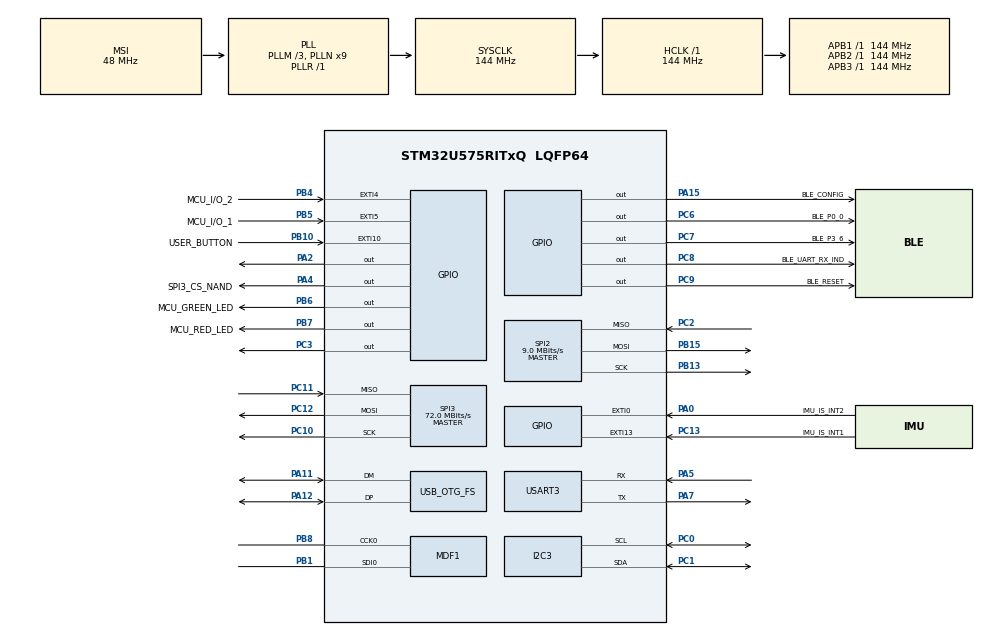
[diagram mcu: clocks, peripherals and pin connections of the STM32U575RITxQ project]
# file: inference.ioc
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CORTEX_M33_NS.userName=CORTEX_M33
GPDMA1.CIRCULARMODE_GPDMACH0=ENABLE
GPDMA1.DESTDATAWIDTH_GPDMACH0=DMA_DEST_DATAWIDTH_HALFWORD
GPDMA1.DESTINC_GPDMACH0=DMA_DINC_INCREMENTED
GPDMA1.IPHANDLE_GPDMACH0-SIMPLEREQUEST_GPDMACH0=__NULL
GPDMA1.REQUEST_GPDMACH0=GPDMA1_REQUEST_MDF1_FLT0
GPDMA1.SRCDATAWIDTH_GPDMACH0=DMA_SRC_DATAWIDTH_HALFWORD
I2C3.Timing=0x20B0D9FF
MDF1.MDF_COMPARAM_ActivationClockTrigger=DISABLE
MDF1.MDF_COMPARAM_ActivationOutputClock=ENABLE
MDF1.MDF_COMPARAM_Divider=10
MDF1.MDF_COMPARAM_Pins=MDF_OUTPUT_CLOCK_0
MDF1.MDF_DFLT0_AcquisitionMode=MDF_MODE_ASYNC_CONT
MDF1.MDF_DFLT0_CIC_Mode=MDF_ONE_FILTER_SINC5
MDF1.MDF_DFLT0_Decimation=24
MDF1.MDF_DFLT0_DiscardSamples=255
MDF1.MDF_DFLT0_FifoThreshold=MDF_FIFO_THRESHOLD_HALF_FULL
MDF1.MDF_DFLT0_Gain=1
MDF1.MDF_DFLT0_HighPassFilterActivation=ENABLE
MDF1.MDF_DFLT0_ReshapeFilterActivation=ENABLE
MDF1.MDF_SITF0_Mode_Display=MDF_SITF_NORMAL_SPI_MODE
MDF1.MDF_SITF0_Threshold=31
Mcu.Family=STM32U5
Mcu.Name=STM32U575RITxQ
Mcu.Package=LQFP64
NVIC.EXTI0_IRQn=true\:0\:0\:false\:false\:true\:true\:true\:true
NVIC.EXTI10_IRQn=true\:0\:0\:false\:false\:true\:true\:true\:true
NVIC.EXTI13_IRQn=true\:0\:0\:false\:false\:true\:true\:true\:true
NVIC.EXTI4_IRQn=true\:0\:0\:false\:false\:true\:true\:true\:true
NVIC.EXTI5_IRQn=true\:0\:0\:false\:false\:true\:true\:true\:true
NVIC.GPDMA1_Channel0_IRQn=true\:0\:0\:false\:false\:true\:false\:true\:true
NVIC.MDF1_FLT0_IRQn=true\:0\:0\:false\:false\:true\:true\:true\:true
NVIC.OTG_FS_IRQn=true\:0\:0\:false\:false\:true\:true\:true\:true
NVIC.PriorityGroup=NVIC_PRIORITYGROUP_4
NVIC.SPI2_IRQn=true\:0\:0\:false\:false\:true\:true\:true\:true
NVIC.SPI3_IRQn=true\:0\:0\:false\:false\:true\:true\:true\:true
NVIC.USART3_IRQn=true\:0\:0\:false\:false\:true\:true\:true\:true
PA0.GPIO_Label=IMU_IS_INT2
PA0.Signal=GPXTI0
PA11.GPIO_Speed=GPIO_SPEED_FREQ_VERY_HIGH
PA11.Mode=Device_Only
PA11.Signal=USB_OTG_FS_DM
PA12.GPIO_Speed=GPIO_SPEED_FREQ_VERY_HIGH
PA12.Mode=Device_Only
PA12.Signal=USB_OTG_FS_DP
PA13\ (JTMS/SWDIO).Mode=Trace_Asynchronous_SW
PA13\ (JTMS/SWDIO).Signal=DEBUG_JTMS-SWDIO
PA14\ (JTCK/SWCLK).Mode=Trace_Asynchronous_SW
PA14\ (JTCK/SWCLK).Signal=DEBUG_JTCK-SWCLK
PA15\ (JTDI).GPIO_Label=BLE_CONFIG
PA15\ (JTDI).PinState=GPIO_PIN_SET
PA15\ (JTDI).Signal=GPIO_Output
PA2.Signal=GPIO_Output
PA4.GPIO_Label=SPI3_CS_NAND
PA4.Signal=GPIO_Output
PA5.Mode=Asynchronous
PA5.Signal=USART3_RX
PA7.Mode=Asynchronous
PA7.Signal=USART3_TX
PA9.Signal=USB_OTG_FS_VBUS
PB1.GPIO_Speed=GPIO_SPEED_FREQ_VERY_HIGH
PB1.Mode=MOD_MDF_SITF0_CCK0
PB1.Signal=MDF1_SDI0
PB10.GPIO_Label=USER_BUTTON
PB10.GPIO_ModeDefaultEXTI=GPIO_MODE_IT_RISING_FALLING
PB10.GPIO_PuPd=GPIO_PULLDOWN
PB10.Signal=GPXTI10
PB13.Mode=Full_Duplex_Master
PB13.Signal=SPI2_SCK
PB15.Mode=Full_Duplex_Master
PB15.Signal=SPI2_MOSI
PB3\ (JTDO/TRACESWO).Mode=Trace_Asynchronous_SW
PB3\ (JTDO/TRACESWO).Signal=DEBUG_JTDO-SWO
PB4\ (NJTRST).GPIO_Label=MCU_I/O_2
PB4\ (NJTRST).Signal=GPXTI4
PB5.GPIO_Label=MCU_I/O_1
PB5.GPIO_ModeDefaultEXTI=GPIO_MODE_IT_FALLING
PB5.Signal=GPXTI5
PB6.GPIO_Label=MCU_GREEN_LED
PB6.Signal=GPIO_Output
PB7.GPIO_Label=MCU_RED_LED
PB7.Signal=GPIO_Output
PB8.GPIO_FM8=SYSCFG_FASTMODEPLUS_PB8
PB8.GPIO_Speed=GPIO_SPEED_FREQ_VERY_HIGH
PB8.Mode=MOD_MDF_CCK0
PB8.Signal=MDF1_CCK0
PC0.Mode=I2C
PC0.Signal=I2C3_SCL
PC1.Mode=I2C
PC1.Signal=I2C3_SDA
PC10.Mode=Full_Duplex_Master
PC10.Signal=SPI3_SCK
PC11.Mode=Full_Duplex_Master
PC11.Signal=SPI3_MISO
PC12.Mode=Full_Duplex_Master
PC12.Signal=SPI3_MOSI
PC13.GPIO_Label=IMU_IS_INT1
PC13.Signal=GPXTI13
PC14-OSC32_IN\ (PC14).Mode=LSE-External-Oscillator
PC14-OSC32_IN\ (PC14).Signal=RCC_OSC32_IN
PC15-OSC32_OUT\ (PC15).Mode=LSE-External-Oscillator
PC15-OSC32_OUT\ (PC15).Signal=RCC_OSC32_OUT
PC2.Mode=Full_Duplex_Master
PC2.Signal=SPI2_MISO
PC3.Signal=GPIO_Output
PC6.GPIO_Label=BLE_P0_0
PC6.Signal=GPIO_Output
PC7.GPIO_Label=BLE_P3_6
PC7.Signal=GPIO_Output
PC8.GPIO_Label=BLE_UART_RX_IND
PC8.Signal=GPIO_Output
PC9.GPIO_Label=BLE_RESET
PC9.Signal=GPIO_Output
PH0-OSC_IN\ (PH0).Mode=HSE-External-Oscillator
PH0-OSC_IN\ (PH0).Signal=RCC_OSC_IN
PH1-OSC_OUT\ (PH1).Mode=HSE-External-Oscillator
PH1-OSC_OUT\ (PH1).Signal=RCC_OSC_OUT
ProjectManager.HeapSize=0x800
ProjectManager.StackSize=0x800
ProjectManager.TargetToolchain=CMake
RCC.ADCCLockSelection=RCC_ADCDACCLKSOURCE_PLL2
RCC.ADCFreq_Value=160000000
RCC.AHBFreq_Value=144000000
RCC.APB1Freq_Value=144000000
RCC.APB1TimFreq_Value=144000000
RCC.APB2Freq_Value=144000000
RCC.APB2TimFreq_Value=144000000
RCC.APB3Freq_Value=144000000
RCC.CK48CLockSelection=RCC_CLK48CLKSOURCE_PLL1
RCC.CortexFreq_Value=144000000
RCC.EPOD_VALUE=48000000
RCC.HCLKFreq_Value=144000000
RCC.HSE_VALUE=24000000
RCC.HSI48_VALUE=48000000
RCC.HSI_VALUE=16000000
RCC.LSIDIV_VALUE=32000
RCC.MSIClockRange=RCC_MSIRANGE_0
RCC.MSI_VALUE=48000000
RCC.MdfClockSelection=RCC_MDF1CLKSOURCE_PLL3
RCC.PLL1Q=3
RCC.PLL1R=1
RCC.PLL2FRACN=0
RCC.PLL2M=3
RCC.PLL2N=20
RCC.PLL3FRACN=0
RCC.PLL3M=3
RCC.PLL3N=48
RCC.PLL3Q=25
RCC.PLL3Source=RCC_PLLSOURCE_HSE
RCC.PLLFRACN=0
RCC.PLLM=3
RCC.PLLN=9
RCC.PWR_Regulator_Voltage_Scale=PWR_REGULATOR_VOLTAGE_SCALE1
RCC.SYSCLKFreq_VALUE=144000000
RCC.SYSCLKSource=RCC_SYSCLKSOURCE_PLLCLK
RCC.USBFreq_Value=48000000
RCC.VCOOutputFreq_Value=144000000
SPI2.BaudRatePrescaler=SPI_BAUDRATEPRESCALER_16
SPI2.CalculateBaudRate=9.0 MBits/s
SPI2.DataSize=SPI_DATASIZE_8BIT
SPI2.Direction=SPI_DIRECTION_2LINES
SPI2.Mode=SPI_MODE_MASTER
SPI2.VirtualType=VM_MASTER
SPI3.CalculateBaudRate=72.0 MBits/s
SPI3.Direction=SPI_DIRECTION_2LINES
SPI3.Mode=SPI_MODE_MASTER
SPI3.VirtualType=VM_MASTER
STMicroelectronics.FP-SNS-STAIOTCFT.1.0.0.MathOoLibCcCMSISJjDSPJjInclude=true
STMicroelectronics.FP-SNS-STAIOTCFT.1.0.0.MathOoLibCcCMSISJjDSPJjLib=true
STMicroelectronics.X-CUBE-AI.10.2.0.ActivationBufferSizeList=1000
STMicroelectronics.X-CUBE-AI.10.2.0.ActivationBuffers=pool0
STMicroelectronics.X-CUBE-AI.10.2.0.ActivationNames=pool0
STMicroelectronics.X-CUBE-AI.10.2.0.ActivationSizes=AI_NETWORK_DATA_ACTIVATION_1_SIZE
STMicroelectronics.X-CUBE-AI.10.2.0.HeapSize=0x800
STMicroelectronics.X-CUBE-AI.10.2.0.InternalRamActivationBufferMaxSize=AI_NETWORK_DATA_ACTIVATIONS_SIZE
STMicroelectronics.X-CUBE-AI.10.2.0.LatestDirectoryUsed-ff7e8d64f771db57aa293f2febb8b5f635e844d5ac6076b4101a7b0ddd6fcaff=/Users/mirko/Developer/SWDPProject/pipeline/output/tinyml_context_model
STMicroelectronics.X-CUBE-AI.10.2.0.MaximumNumberOfInputLayer=1
STMicroelectronics.X-CUBE-AI.10.2.0.MaximumNumberOfOutputLayer=1
STMicroelectronics.X-CUBE-AI.10.2.0.MaximumSizeOfInputLayer=1
STMicroelectronics.X-CUBE-AI.10.2.0.MaximumSizeOfOutputLayer=1
STMicroelectronics.X-CUBE-AI.10.2.0.ModelActualCompression-ff7e8d64f771db57aa293f2febb8b5f635e844d5ac6076b4101a7b0ddd6fcaff=0.0
STMicroelectronics.X-CUBE-AI.10.2.0.ModelCompression-ff7e8d64f771db57aa293f2febb8b5f635e844d5ac6076b4101a7b0ddd6fcaff=None
STMicroelectronics.X-CUBE-AI.10.2.0.ModelFlashOccupation-ff7e8d64f771db57aa293f2febb8b5f635e844d5ac6076b4101a7b0ddd6fcaff=2052
STMicroelectronics.X-CUBE-AI.10.2.0.ModelHashList=ff7e8d64f771db57aa293f2febb8b5f635e844d5ac6076b4101a7b0ddd6fcaff
STMicroelectronics.X-CUBE-AI.10.2.0.ModelKind-ff7e8d64f771db57aa293f2febb8b5f635e844d5ac6076b4101a7b0ddd6fcaff=TFLITE
STMicroelectronics.X-CUBE-AI.10.2.0.ModelMacc-ff7e8d64f771db57aa293f2febb8b5f635e844d5ac6076b4101a7b0ddd6fcaff=1968
STMicroelectronics.X-CUBE-AI.10.2.0.ModelName-ff7e8d64f771db57aa293f2febb8b5f635e844d5ac6076b4101a7b0ddd6fcaff=network
STMicroelectronics.X-CUBE-AI.10.2.0.ModelNameList=network
STMicroelectronics.X-CUBE-AI.10.2.0.ModelRamOccupation-ff7e8d64f771db57aa293f2febb8b5f635e844d5ac6076b4101a7b0ddd6fcaff=1000
STMicroelectronics.X-CUBE-AI.10.2.0.ModelStructureFile-ff7e8d64f771db57aa293f2febb8b5f635e844d5ac6076b4101a7b0ddd6fcaff=/Users/mirko/Developer/SWDPProject/pipeline/output/tinyml_context_model/tinyml_context_model_int8.tflite
STMicroelectronics.X-CUBE-AI.10.2.0.ModelType-ff7e8d64f771db57aa293f2febb8b5f635e844d5ac6076b4101a7b0ddd6fcaff=STM32Cube.AI MCU runtime
STMicroelectronics.X-CUBE-AI.10.2.0.ReadyForCodeGeneration=true
STMicroelectronics.X-CUBE-AI.10.2.0.StackSize=0x800
STMicroelectronics.X-CUBE-AI.10.2.0.WorkingBufferStartAddrList=0xFFFFFFFF
STMicroelectronics.X-CUBE-AI.10.2.0.XAaCUBEAaAICcArtificialOoIntelligenceJjCore=true
STMicroelectronics.X-CUBE-AI.10.2.0.copyWeightToRam=false
STMicroelectronics.X-CUBE-AI.10.2.0.copyWeightToRam-ff7e8d64f771db57aa293f2febb8b5f635e844d5ac6076b4101a7b0ddd6fcaff=false
STMicroelectronics.X-CUBE-AI.10.2.0.customLayerConfigEnabled=false
STMicroelectronics.X-CUBE-AI.10.2.0.customLayerConfigEnabled-ff7e8d64f771db57aa293f2febb8b5f635e844d5ac6076b4101a7b0ddd6fcaff=false
STMicroelectronics.X-CUBE-AI.10.2.0.noOnnxIoTranspose=false
STMicroelectronics.X-CUBE-AI.10.2.0.noOnnxIoTranspose-ff7e8d64f771db57aa293f2febb8b5f635e844d5ac6076b4101a7b0ddd6fcaff=false
STMicroelectronics.X-CUBE-AI.10.2.0.useInputAllocation=true
STMicroelectronics.X-CUBE-AI.10.2.0.useInputAllocation-ff7e8d64f771db57aa293f2febb8b5f635e844d5ac6076b4101a7b0ddd6fcaff=true
STMicroelectronics.X-CUBE-AI.10.2.0.useOutputAllocation=true
STMicroelectronics.X-CUBE-AI.10.2.0.useOutputAllocation-ff7e8d64f771db57aa293f2febb8b5f635e844d5ac6076b4101a7b0ddd6fcaff=true
USART3.VirtualMode-Asynchronous=VM_ASYNC
USB_OTG_FS.VirtualMode=Device_Only
VP_GPDMA1_VS_GPDMACH0.Mode=SIMPLEREQUEST_GPDMACH0
VP_ICACHE_VS_ENABLE_ICACHE_MEMORY.Mode=Memoryregions
VP_ICACHE_VS_ICACHE.Mode=DefaultMode
VP_LPBAMQUEUE_VS_QUEUE.Mode=QUEUEMODE
VP_LPBAM_VS_SIG1.Mode=SmartRun
VP_LPBAM_VS_SIG4.Mode=LPDMA1
VP_MDF1_VS_MDF_DFLT0.Mode=MOD_MDF_DFLT0
VP_MEMORYMAP_VS_MEMORYMAP.Mode=CurAppReg
VP_PWR_VS_SECSignals.Mode=Security/Privilege
VP_STMicroelectronics.FP-SNS-STAIOTCFT_VS_CMSISJjMathOoLib_1.0.0_1.0.0.Mode=CMSISJjMathOoLib
VP_STMicroelectronics.X-CUBE-AI_VS_ArtificialOoIntelligenceJjXAaCUBEAaAI_10.2.0.Mode=ArtificialOoIntelligenceJjXAaCUBEAaAI
board=custom

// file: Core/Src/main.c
/* USER CODE BEGIN Header */
/**
  ******************************************************************************
  * @file           : main.c
  * @brief          : Main application file for inference project.
  ******************************************************************************
  * @functionality  : This firmware implements a windowed data acquisition and
  * edge inference system for the microphone and spectrometer.
  * @details        : The application performs three primary tasks:
  * 1. Windowed Acquisition: Captures and buffers synchronized
  * windows of audio (microphone) and spectral data.
  * 2. On-Device Inference: Processes the data windows locally
  * using an embedded machine learning model to achieve
  * real-time context awareness recognition.
  ******************************************************************************
  */
/* USER CODE END Header */
#include "main.h"

/* USER CODE BEGIN Includes */
#include "string.h"
#include "stdio.h"
#include "../../USB_Device/App/usb_device.h"
#include "SPI.h"
#include "SPI_NAND.h"
#include "Memory_operations.h"
#include "led_driver.h"
#include "imu_driver.h"
#include "bluetooth.h"
#include "as7341.h"
#include "network.h"         // ST Edge-AI generated header
#include "network_data.h"    // Contains weights definitions
#include <math.h>
#include "features.h"
/* USER CODE END Includes */

/* USER CODE BEGIN PD */
// --- ⚙️ ARBITRARY INFERENCE STRIDE CONFIGURATION ---
#define INFERENCE_STRIDE_PACKETS   9  // 1 = Every 381ms, 3 = Every 1.1s, 9 = Non-overlapping
/* USER CODE END PD */

I2C_HandleTypeDef hi2c3;

MDF_HandleTypeDef MdfHandle0;
MDF_FilterConfigTypeDef MdfFilterConfig0;
DMA_NodeTypeDef Node_GPDMA1_Channel0;
DMA_QListTypeDef List_GPDMA1_Channel0;
DMA_HandleTypeDef handle_GPDMA1_Channel0;

SPI_HandleTypeDef hspi2;
SPI_HandleTypeDef hspi3;

UART_HandleTypeDef huart3;

PCD_HandleTypeDef hpcd_USB_OTG_FS;

/* USER CODE BEGIN PV */
// --- AI Framework Handles & Buffers (RESTORED TO FIX COMPILATION ERRORS) ---
static ai_handle network_instance = AI_HANDLE_NULL;

#define ACTIVATION_BUF_SIZE AI_NETWORK_DATA_ACTIVATIONS_SIZE
// 4-byte aligned internal activation buffer required for NN layer execution
static uint8_t activations_buffer[ACTIVATION_BUF_SIZE] __attribute__((aligned(4)));

static ai_buffer ai_input[AI_NETWORK_IN_NUM];
static ai_buffer ai_output[AI_NETWORK_OUT_NUM];

// --- Hardware Streaming Buffers ---
int16_t audio_circular_buffer[AUDIO_CIRC_BUF_SIZE]; // Double DMA Ping-Pong buffer

// --- Raw Sliding Window Storage Arrays ---
static int16_t audio_window_history[WINDOW_PACKET_COUNT][BLOCK_AUDIO_SAMPLES];
static uint16_t spectro_window_history[WINDOW_PACKET_COUNT][SPECTRAL_CHANNELS];
static AS7341_Flicker_t flicker_window_history[WINDOW_PACKET_COUNT]; // Aligned with updated struct type

static int write_ptr = 0;
static int blocks_accumulated = 0;
static int stride_counter = 0;

// Scratchpad buffer to piece together the continuous 3.43-second wave for processing
static int16_t audio_processing_scratchpad[TOTAL_WINDOW_SAMPLES];

// Output predictions buffer explicitly set to int8_t for the quantized output layer
static int8_t nn_output_predictions[AI_NETWORK_OUT_1_SIZE];
// Quantized input features array for X-CUBE-AI model (Size: 41)
static int8_t nn_input_features[AI_NETWORK_IN_1_SIZE];
// Temporary float array for feature extraction and normalization (Size: 41)
static float nn_input_features_float[AI_NETWORK_IN_1_SIZE];

static volatile uint8_t data_processing_requested = 0;
static volatile int processing_write_ptr = 0;

// Spectrometer data structures (Synchronized with data_logger)
AS7341_Handle_t h_as7341;
AS7341_SpectralData_t spectral_data;
AS7341_SpectralData_t spectral_data_buffer;
volatile bool spectral_data_ready = false;

// --- Global Flags and Variables ---
// Flag to indicate a USB connection event.
// Set to 1 when a USB connection is detected.
uint8_t usb_flag = 0;
/* USER CODE END PV */

void SystemClock_Config(void);
static void MX_GPIO_Init(void);
static void MX_GPDMA1_Init(void);
static void MX_ICACHE_Init(void);
static void MX_I2C3_Init(void);
static void MX_USART3_UART_Init(void);
static void MX_USB_OTG_FS_PCD_Init(void);
static void MX_MDF1_Init(void);
static void MX_SPI3_Init(void);
static void MX_SPI2_Init(void);
/* USER CODE BEGIN PFP */
/* USER CODE BEGIN PFP */
/* USER CODE END PFP */

/* USER CODE BEGIN 0 */
/**
  * @brief  Initializes X-CUBE-AI Network instances
  */
void AI_Init(void)
{
    ai_error err;
    ai_handle activations_list[] = { (ai_handle)activations_buffer };

    err = ai_network_create_and_init(&network_instance, activations_list, NULL);
    if (err.type != AI_ERROR_NONE) {
        Error_Handler();
    }

    ai_input[0]  = *ai_network_inputs_get(network_instance, NULL);
    ai_output[0] = *ai_network_outputs_get(network_instance, NULL);

    // Map feature references: float32 for input features, int8_t for output predictions
    ai_input[0].data  = (ai_handle)nn_input_features;
    ai_output[0].data = (ai_handle)nn_output_predictions;
}

/**
  * @brief  Runs inference pipeline inside X-CUBE-AI Runtime context
  */
void Run_Inference(void)
{
    ai_i32 n_batch;
    n_batch = ai_network_run(network_instance, &ai_input[0], &ai_output[0]);
    if (n_batch != 1) {
        Error_Handler();
    }
}
/* USER CODE END 0 */

int main(void)
{

  /* MCU Configuration--------------------------------------------------------*/

  /* Reset of all peripherals, Initializes the Flash interface and the Systick. */
  HAL_Init();

  /* Configure the system clock */
  SystemClock_Config();

  /* Initialize all configured peripherals */
  MX_GPIO_Init();
  MX_GPDMA1_Init();
  MX_ICACHE_Init();
  MX_I2C3_Init();
  MX_USART3_UART_Init();
  MX_USB_OTG_FS_PCD_Init();
  MX_MDF1_Init();
  MX_SPI3_Init();
  MX_SPI2_Init();
  /* USER CODE BEGIN 2 */
  BLE_Initialize();
  MX_USB_Device_Init();
  HAL_Delay(1000);

  // Initialize X-CUBE-AI model platform
  AI_Init();

  // Inizializzazione Spettrometro AS7341 (Updated layout matching main_datalogger.c)
  if (AS7341_Init(&h_as7341, &hi2c3, 99, 599, AS7341_GAIN_8X, true) != AS7341_OK) {
      LED_On(LED_RED);
      Error_Handler();
  }

  // Kick off initial asynchronous spectrometer read sequence launch
  AS7341_StartRead(&h_as7341);

  // --- START CONTINUOUS CIRCULAR DMA AUDIO STREAM ---
  MDF_DmaConfigTypeDef mdf_dma_config = {0};
  mdf_dma_config.Address = (uint32_t)audio_circular_buffer;
  mdf_dma_config.DataLength  = AUDIO_CIRC_BUF_SIZE * sizeof(int16_t);
  mdf_dma_config.MsbOnly = ENABLE;

  if (HAL_MDF_AcqStart_DMA(&MdfHandle0, &MdfFilterConfig0, &mdf_dma_config) != HAL_OK) {
      LED_On(LED_RED);
      Error_Handler();
  }
  /* USER CODE END 2 */

  /* Infinite loop */
  while (1)
  {

    /* USER CODE BEGIN 3 */
    if (data_processing_requested)
    {
        data_processing_requested = 0;

        // --- Reconstruct Continuous Chronological Audio Vector ---
        int current_slot = processing_write_ptr; // The oldest slot is exactly where write_ptr currently sits
        for (int i = 0; i < WINDOW_PACKET_COUNT; i++) {
            memcpy(&audio_processing_scratchpad[i * BLOCK_AUDIO_SAMPLES],
                   audio_window_history[current_slot],
                   BLOCK_AUDIO_SAMPLES * sizeof(int16_t));
            current_slot = (current_slot + 1) % WINDOW_PACKET_COUNT;
        }

        // --- Feature Extraction from sliding windows ---
        // Fills indices 0 to 16
        Extract_Spectro_Features_Window(spectro_window_history, nn_input_features_float);

        // Fills indices 17 to 22
        Extract_Flicker_Features_Window(flicker_window_history, WINDOW_PACKET_COUNT, nn_input_features_float);

        // Fills indices 23 to 40
        Extract_Audio_Features_Window(audio_processing_scratchpad, TOTAL_WINDOW_SAMPLES, nn_input_features_float);

        // Normalize the final combined vector
        Apply_Normalization(nn_input_features_float);

        // Quantize the float features to int8 for the quantized model input
        // Using scale 0.0541030541062355f and zero-point -71
        for (int i = 0; i < AI_NETWORK_IN_1_SIZE; i++) {
            float q_val = roundf(nn_input_features_float[i] / 0.0541030541062355f) - 71.0f;
            if (q_val < -128.0f) q_val = -128.0f;
            if (q_val > 127.0f) q_val = 127.0f;
            nn_input_features[i] = (int8_t)q_val;
        }

        // Runs your full 1-shot model execution
        Run_Inference();

        // Find the maximum probability across all 5 classes
        int8_t max_probability = -128; // Smallest possible int8 value
        uint8_t winning_class_idx = 0;

        for (uint8_t i = 0; i < 5; i++) {
            if (nn_output_predictions[i] > max_probability) {
                max_probability = nn_output_predictions[i];
                winning_class_idx = i;
            }
        }

        //SEND PACKET THERE
        int latest_idx = (processing_write_ptr - 1 + WINDOW_PACKET_COUNT) % WINDOW_PACKET_COUNT;
        BLE_SendLumosPacket((uint8_t)winning_class_idx, spectro_window_history[latest_idx]);

        // Act on the winning index based on hardware LEDs as before:
        switch (winning_class_idx) {
            case 0: // UNDERGROUND
                LED_Off(LED_RED);
                LED_Off(LED_GREEN);
                break;
            case 1: // OUTDOOR
                LED_Off(LED_RED);
                LED_On(LED_GREEN);
                break;
            case 2: // INDOOR_QUIET
                LED_On(LED_RED);
                LED_Off(LED_GREEN);
                break;
            case 3: // INDOOR_NORMAL
                LED_On(LED_RED);
                LED_On(LED_GREEN);
                break;
            default: // COVERED_DARK
                LED_Off(LED_RED);
                LED_On(LED_GREEN);
                break;
        }
    }

    // Critical Section: Sleep entry
    __disable_irq();
    if (!data_processing_requested)
    {
        HAL_PWR_EnterSLEEPMode(PWR_MAINREGULATOR_ON, PWR_SLEEPENTRY_WFI);
    }
    __enable_irq();
  }
  /* USER CODE END 3 */
}

void SystemClock_Config(void)
{
  RCC_OscInitTypeDef RCC_OscInitStruct = {0};
  RCC_ClkInitTypeDef RCC_ClkInitStruct = {0};

  /** Configure the main internal regulator output voltage
  */
  if (HAL_PWREx_ControlVoltageScaling(PWR_REGULATOR_VOLTAGE_SCALE1) != HAL_OK)
  {
    Error_Handler();
  }

  /** Configure LSE Drive Capability
  */
  HAL_PWR_EnableBkUpAccess();
  __HAL_RCC_LSEDRIVE_CONFIG(RCC_LSEDRIVE_LOW);

  /** Initializes the CPU, AHB and APB buses clocks
  */
  RCC_OscInitStruct.OscillatorType = RCC_OSCILLATORTYPE_HSE|RCC_OSCILLATORTYPE_LSE
                              |RCC_OSCILLATORTYPE_MSI;
  RCC_OscInitStruct.HSEState = RCC_HSE_ON;
  RCC_OscInitStruct.LSEState = RCC_LSE_ON;
  RCC_OscInitStruct.MSIState = RCC_MSI_ON;
  RCC_OscInitStruct.MSICalibrationValue = RCC_MSICALIBRATION_DEFAULT;
  RCC_OscInitStruct.MSIClockRange = RCC_MSIRANGE_0;
  RCC_OscInitStruct.PLL.PLLState = RCC_PLL_ON;
  RCC_OscInitStruct.PLL.PLLSource = RCC_PLLSOURCE_MSI;
  RCC_OscInitStruct.PLL.PLLMBOOST = RCC_PLLMBOOST_DIV4;
  RCC_OscInitStruct.PLL.PLLM = 3;
  RCC_OscInitStruct.PLL.PLLN = 9;
  RCC_OscInitStruct.PLL.PLLP = 2;
  RCC_OscInitStruct.PLL.PLLQ = 3;
  RCC_OscInitStruct.PLL.PLLR = 1;
  RCC_OscInitStruct.PLL.PLLRGE = RCC_PLLVCIRANGE_1;
  RCC_OscInitStruct.PLL.PLLFRACN = 0;
  if (HAL_RCC_OscConfig(&RCC_OscInitStruct) != HAL_OK)
  {
    Error_Handler();
  }

  /** Initializes the CPU, AHB and APB buses clocks
  */
  RCC_ClkInitStruct.ClockType = RCC_CLOCKTYPE_HCLK|RCC_CLOCKTYPE_SYSCLK
                              |RCC_CLOCKTYPE_PCLK1|RCC_CLOCKTYPE_PCLK2
                              |RCC_CLOCKTYPE_PCLK3;
  RCC_ClkInitStruct.SYSCLKSource = RCC_SYSCLKSOURCE_PLLCLK;
  RCC_ClkInitStruct.AHBCLKDivider = RCC_SYSCLK_DIV1;
  RCC_ClkInitStruct.APB1CLKDivider = RCC_HCLK_DIV1;
  RCC_ClkInitStruct.APB2CLKDivider = RCC_HCLK_DIV1;
  RCC_ClkInitStruct.APB3CLKDivider = RCC_HCLK_DIV1;

  if (HAL_RCC_ClockConfig(&RCC_ClkInitStruct, FLASH_LATENCY_4) != HAL_OK)
  {
    Error_Handler();
  }

  /** Enable MSI Auto calibration
  */
  HAL_RCCEx_EnableMSIPLLModeSelection(RCC_MSISPLL_MODE_SEL);
  HAL_RCCEx_EnableMSIPLLMode();
}

static void MX_GPDMA1_Init(void)
{

  /* Peripheral clock enable */
  __HAL_RCC_GPDMA1_CLK_ENABLE();

  /* GPDMA1 interrupt Init */
    HAL_NVIC_SetPriority(GPDMA1_Channel0_IRQn, 0, 0);
    HAL_NVIC_EnableIRQ(GPDMA1_Channel0_IRQn);

}

static void MX_I2C3_Init(void)
{

  hi2c3.Instance = I2C3;
  hi2c3.Init.Timing = 0x20B0D9FF;
  hi2c3.Init.OwnAddress1 = 0;
  hi2c3.Init.AddressingMode = I2C_ADDRESSINGMODE_7BIT;
  hi2c3.Init.DualAddressMode = I2C_DUALADDRESS_DISABLE;
  hi2c3.Init.OwnAddress2 = 0;
  hi2c3.Init.OwnAddress2Masks = I2C_OA2_NOMASK;
  hi2c3.Init.GeneralCallMode = I2C_GENERALCALL_DISABLE;
  hi2c3.Init.NoStretchMode = I2C_NOSTRETCH_DISABLE;
  if (HAL_I2C_Init(&hi2c3) != HAL_OK)
  {
    Error_Handler();
  }

  /** Configure Analogue filter
  */
  if (HAL_I2CEx_ConfigAnalogFilter(&hi2c3, I2C_ANALOGFILTER_ENABLE) != HAL_OK)
  {
    Error_Handler();
  }

  /** Configure Digital filter
  */
  if (HAL_I2CEx_ConfigDigitalFilter(&hi2c3, 0) != HAL_OK)
  {
    Error_Handler();
  }

}

static void MX_ICACHE_Init(void)
{

  /** Enable instruction cache (default 2-ways set associative cache)
  */
  if (HAL_ICACHE_Enable() != HAL_OK)
  {
    Error_Handler();
  }

}

static void MX_MDF1_Init(void)
{

  /**
    MdfHandle0 structure initialization and HAL_MDF_Init function call
  */
  MdfHandle0.Instance = MDF1_Filter0;
  MdfHandle0.Init.CommonParam.InterleavedFilters = 0;
  MdfHandle0.Init.CommonParam.ProcClockDivider = 1;
  MdfHandle0.Init.CommonParam.OutputClock.Activation = ENABLE;
  MdfHandle0.Init.CommonParam.OutputClock.Pins = MDF_OUTPUT_CLOCK_0;
  MdfHandle0.Init.CommonParam.OutputClock.Divider = 10;
  MdfHandle0.Init.CommonParam.OutputClock.Trigger.Activation = DISABLE;
  MdfHandle0.Init.SerialInterface.Activation = ENABLE;
  MdfHandle0.Init.SerialInterface.Mode = MDF_SITF_NORMAL_SPI_MODE;
  MdfHandle0.Init.SerialInterface.ClockSource = MDF_SITF_CCK0_SOURCE;
  MdfHandle0.Init.SerialInterface.Threshold = 31;
  MdfHandle0.Init.FilterBistream = MDF_BITSTREAM0_RISING;
  if (HAL_MDF_Init(&MdfHandle0) != HAL_OK)
  {
    Error_Handler();
  }

  /**
    MdfFilterConfig0, MdfOldConfig0 and/or MdfScdConfig0 structures initialization

    WARNING : only structures are filled, no specific init function call for filter
  */
  MdfFilterConfig0.DataSource = MDF_DATA_SOURCE_BSMX;
  MdfFilterConfig0.Delay = 0;
  MdfFilterConfig0.CicMode = MDF_ONE_FILTER_SINC5;
  MdfFilterConfig0.DecimationRatio = 24;
  MdfFilterConfig0.Offset = 0;
  MdfFilterConfig0.Gain = 1;
  MdfFilterConfig0.ReshapeFilter.Activation = ENABLE;
  MdfFilterConfig0.ReshapeFilter.DecimationRatio = MDF_RSF_DECIMATION_RATIO_4;
  MdfFilterConfig0.HighPassFilter.Activation = ENABLE;
  MdfFilterConfig0.HighPassFilter.CutOffFrequency = MDF_HPF_CUTOFF_0_000625FPCM;
  MdfFilterConfig0.Integrator.Activation = DISABLE;
  MdfFilterConfig0.SoundActivity.Activation = DISABLE;
  MdfFilterConfig0.AcquisitionMode = MDF_MODE_ASYNC_CONT;
  MdfFilterConfig0.FifoThreshold = MDF_FIFO_THRESHOLD_HALF_FULL;
  MdfFilterConfig0.DiscardSamples = 255;

}

static void MX_SPI2_Init(void)
{

  SPI_AutonomousModeConfTypeDef HAL_SPI_AutonomousMode_Cfg_Struct = {0};

  /* SPI2 parameter configuration*/
  hspi2.Instance = SPI2;
  hspi2.Init.Mode = SPI_MODE_MASTER;
  hspi2.Init.Direction = SPI_DIRECTION_2LINES;
  hspi2.Init.DataSize = SPI_DATASIZE_8BIT;
  hspi2.Init.CLKPolarity = SPI_POLARITY_LOW;
  hspi2.Init.CLKPhase = SPI_PHASE_1EDGE;
  hspi2.Init.NSS = SPI_NSS_SOFT;
  hspi2.Init.BaudRatePrescaler = SPI_BAUDRATEPRESCALER_16;
  hspi2.Init.FirstBit = SPI_FIRSTBIT_MSB;
  hspi2.Init.TIMode = SPI_TIMODE_DISABLE;
  hspi2.Init.CRCCalculation = SPI_CRCCALCULATION_DISABLE;
  hspi2.Init.CRCPolynomial = 0x7;
  hspi2.Init.NSSPMode = SPI_NSS_PULSE_ENABLE;
  hspi2.Init.NSSPolarity = SPI_NSS_POLARITY_LOW;
  hspi2.Init.FifoThreshold = SPI_FIFO_THRESHOLD_01DATA;
  hspi2.Init.MasterSSIdleness = SPI_MASTER_SS_IDLENESS_00CYCLE;
  hspi2.Init.MasterInterDataIdleness = SPI_MASTER_INTERDATA_IDLENESS_00CYCLE;
  hspi2.Init.MasterReceiverAutoSusp = SPI_MASTER_RX_AUTOSUSP_DISABLE;
  hspi2.Init.MasterKeepIOState = SPI_MASTER_KEEP_IO_STATE_DISABLE;
  hspi2.Init.IOSwap = SPI_IO_SWAP_DISABLE;
  hspi2.Init.ReadyMasterManagement = SPI_RDY_MASTER_MANAGEMENT_INTERNALLY;
  hspi2.Init.ReadyPolarity = SPI_RDY_POLARITY_HIGH;
  if (HAL_SPI_Init(&hspi2) != HAL_OK)
  {
    Error_Handler();
  }
  HAL_SPI_AutonomousMode_Cfg_Struct.TriggerState = SPI_AUTO_MODE_DISABLE;
  HAL_SPI_AutonomousMode_Cfg_Struct.TriggerSelection = SPI_GRP1_GPDMA_CH0_TCF_TRG;
  HAL_SPI_AutonomousMode_Cfg_Struct.TriggerPolarity = SPI_TRIG_POLARITY_RISING;
  if (HAL_SPIEx_SetConfigAutonomousMode(&hspi2, &HAL_SPI_AutonomousMode_Cfg_Struct) != HAL_OK)
  {
    Error_Handler();
  }

}

static void MX_SPI3_Init(void)
{

  SPI_AutonomousModeConfTypeDef HAL_SPI_AutonomousMode_Cfg_Struct = {0};

  /* SPI3 parameter configuration*/
  hspi3.Instance = SPI3;
  hspi3.Init.Mode = SPI_MODE_MASTER;
  hspi3.Init.Direction = SPI_DIRECTION_2LINES;
  hspi3.Init.DataSize = SPI_DATASIZE_8BIT;
  hspi3.Init.CLKPolarity = SPI_POLARITY_LOW;
  hspi3.Init.CLKPhase = SPI_PHASE_1EDGE;
  hspi3.Init.NSS = SPI_NSS_SOFT;
  hspi3.Init.BaudRatePrescaler = SPI_BAUDRATEPRESCALER_2;
  hspi3.Init.FirstBit = SPI_FIRSTBIT_MSB;
  hspi3.Init.TIMode = SPI_TIMODE_DISABLE;
  hspi3.Init.CRCCalculation = SPI_CRCCALCULATION_DISABLE;
  hspi3.Init.CRCPolynomial = 0x7;
  hspi3.Init.NSSPMode = SPI_NSS_PULSE_ENABLE;
  hspi3.Init.NSSPolarity = SPI_NSS_POLARITY_LOW;
  hspi3.Init.FifoThreshold = SPI_FIFO_THRESHOLD_01DATA;
  hspi3.Init.MasterSSIdleness = SPI_MASTER_SS_IDLENESS_00CYCLE;
  hspi3.Init.MasterInterDataIdleness = SPI_MASTER_INTERDATA_IDLENESS_00CYCLE;
  hspi3.Init.MasterReceiverAutoSusp = SPI_MASTER_RX_AUTOSUSP_DISABLE;
  hspi3.Init.MasterKeepIOState = SPI_MASTER_KEEP_IO_STATE_DISABLE;
  hspi3.Init.IOSwap = SPI_IO_SWAP_DISABLE;
  hspi3.Init.ReadyMasterManagement = SPI_RDY_MASTER_MANAGEMENT_INTERNALLY;
  hspi3.Init.ReadyPolarity = SPI_RDY_POLARITY_HIGH;
  if (HAL_SPI_Init(&hspi3) != HAL_OK)
  {
    Error_Handler();
  }
  HAL_SPI_AutonomousMode_Cfg_Struct.TriggerState = SPI_AUTO_MODE_DISABLE;
  HAL_SPI_AutonomousMode_Cfg_Struct.TriggerSelection = SPI_GRP2_LPDMA_CH0_TCF_TRG;
  HAL_SPI_AutonomousMode_Cfg_Struct.TriggerPolarity = SPI_TRIG_POLARITY_RISING;
  if (HAL_SPIEx_SetConfigAutonomousMode(&hspi3, &HAL_SPI_AutonomousMode_Cfg_Struct) != HAL_OK)
  {
    Error_Handler();
  }

}

static void MX_USART3_UART_Init(void)
{

  huart3.Instance = USART3;
  huart3.Init.BaudRate = 115200;
  huart3.Init.WordLength = UART_WORDLENGTH_8B;
  huart3.Init.StopBits = UART_STOPBITS_1;
  huart3.Init.Parity = UART_PARITY_NONE;
  huart3.Init.Mode = UART_MODE_TX_RX;
  huart3.Init.HwFlowCtl = UART_HWCONTROL_NONE;
  huart3.Init.OverSampling = UART_OVERSAMPLING_16;
  huart3.Init.OneBitSampling = UART_ONE_BIT_SAMPLE_DISABLE;
  huart3.Init.ClockPrescaler = UART_PRESCALER_DIV1;
  huart3.AdvancedInit.AdvFeatureInit = UART_ADVFEATURE_NO_INIT;
  if (HAL_UART_Init(&huart3) != HAL_OK)
  {
    Error_Handler();
  }
  if (HAL_UARTEx_SetTxFifoThreshold(&huart3, UART_TXFIFO_THRESHOLD_1_8) != HAL_OK)
  {
    Error_Handler();
  }
  if (HAL_UARTEx_SetRxFifoThreshold(&huart3, UART_RXFIFO_THRESHOLD_1_8) != HAL_OK)
  {
    Error_Handler();
  }
  if (HAL_UARTEx_DisableFifoMode(&huart3) != HAL_OK)
  {
    Error_Handler();
  }

}

static void MX_USB_OTG_FS_PCD_Init(void)
{

  hpcd_USB_OTG_FS.Instance = USB_OTG_FS;
  hpcd_USB_OTG_FS.Init.dev_endpoints = 6;
  hpcd_USB_OTG_FS.Init.speed = PCD_SPEED_FULL;
  hpcd_USB_OTG_FS.Init.phy_itface = PCD_PHY_EMBEDDED;
  hpcd_USB_OTG_FS.Init.Sof_enable = DISABLE;
  hpcd_USB_OTG_FS.Init.low_power_enable = DISABLE;
  hpcd_USB_OTG_FS.Init.lpm_enable = DISABLE;
  hpcd_USB_OTG_FS.Init.battery_charging_enable = DISABLE;
  hpcd_USB_OTG_FS.Init.use_dedicated_ep1 = DISABLE;
  hpcd_USB_OTG_FS.Init.vbus_sensing_enable = DISABLE;
  hpcd_USB_OTG_FS.Init.dma_enable = DISABLE;
  if (HAL_PCD_Init(&hpcd_USB_OTG_FS) != HAL_OK)
  {
    Error_Handler();
  }

}

static void MX_GPIO_Init(void)
{
  GPIO_InitTypeDef GPIO_InitStruct = {0};

  /* GPIO Ports Clock Enable */
  __HAL_RCC_GPIOC_CLK_ENABLE();
  __HAL_RCC_GPIOH_CLK_ENABLE();
  __HAL_RCC_GPIOA_CLK_ENABLE();
  __HAL_RCC_GPIOB_CLK_ENABLE();

  /*Configure GPIO pin Output Level */
  HAL_GPIO_WritePin(GPIOC, GPIO_PIN_3|BLE_P0_0_Pin|BLE_P3_6_Pin|BLE_UART_RX_IND_Pin
                          |BLE_RESET_Pin, GPIO_PIN_RESET);

  /*Configure GPIO pin Output Level */
  HAL_GPIO_WritePin(GPIOA, GPIO_PIN_2|SPI3_CS_NAND_Pin, GPIO_PIN_RESET);

  /*Configure GPIO pin Output Level */
  HAL_GPIO_WritePin(BLE_CONFIG_GPIO_Port, BLE_CONFIG_Pin, GPIO_PIN_SET);

  /*Configure GPIO pin Output Level */
  HAL_GPIO_WritePin(GPIOB, MCU_GREEN_LED_Pin|MCU_RED_LED_Pin, GPIO_PIN_RESET);

  /*Configure GPIO pin : IMU_IS_INT1_Pin */
  GPIO_InitStruct.Pin = IMU_IS_INT1_Pin;
  GPIO_InitStruct.Mode = GPIO_MODE_IT_RISING;
  GPIO_InitStruct.Pull = GPIO_NOPULL;
  HAL_GPIO_Init(IMU_IS_INT1_GPIO_Port, &GPIO_InitStruct);

  /*Configure GPIO pins : PC3 BLE_P0_0_Pin BLE_P3_6_Pin BLE_UART_RX_IND_Pin
                           BLE_RESET_Pin */
  GPIO_InitStruct.Pin = GPIO_PIN_3|BLE_P0_0_Pin|BLE_P3_6_Pin|BLE_UART_RX_IND_Pin
                          |BLE_RESET_Pin;
  GPIO_InitStruct.Mode = GPIO_MODE_OUTPUT_PP;
  GPIO_InitStruct.Pull = GPIO_NOPULL;
  GPIO_InitStruct.Speed = GPIO_SPEED_FREQ_LOW;
  HAL_GPIO_Init(GPIOC, &GPIO_InitStruct);

  /*Configure GPIO pin : IMU_IS_INT2_Pin */
  GPIO_InitStruct.Pin = IMU_IS_INT2_Pin;
  GPIO_InitStruct.Mode = GPIO_MODE_IT_RISING;
  GPIO_InitStruct.Pull = GPIO_NOPULL;
  HAL_GPIO_Init(IMU_IS_INT2_GPIO_Port, &GPIO_InitStruct);

  /*Configure GPIO pins : PA2 SPI3_CS_NAND_Pin BLE_CONFIG_Pin */
  GPIO_InitStruct.Pin = GPIO_PIN_2|SPI3_CS_NAND_Pin|BLE_CONFIG_Pin;
  GPIO_InitStruct.Mode = GPIO_MODE_OUTPUT_PP;
  GPIO_InitStruct.Pull = GPIO_NOPULL;
  GPIO_InitStruct.Speed = GPIO_SPEED_FREQ_LOW;
  HAL_GPIO_Init(GPIOA, &GPIO_InitStruct);

  /*Configure GPIO pin : USER_BUTTON_Pin */
  GPIO_InitStruct.Pin = USER_BUTTON_Pin;
  GPIO_InitStruct.Mode = GPIO_MODE_IT_RISING_FALLING;
  GPIO_InitStruct.Pull = GPIO_PULLDOWN;
  HAL_GPIO_Init(USER_BUTTON_GPIO_Port, &GPIO_InitStruct);

  /*Configure GPIO pin : MCU_I_O_2_Pin */
  GPIO_InitStruct.Pin = MCU_I_O_2_Pin;
  GPIO_InitStruct.Mode = GPIO_MODE_IT_RISING;
  GPIO_InitStruct.Pull = GPIO_NOPULL;
  HAL_GPIO_Init(MCU_I_O_2_GPIO_Port, &GPIO_InitStruct);

  /*Configure GPIO pin : MCU_I_O_1_Pin */
  GPIO_InitStruct.Pin = MCU_I_O_1_Pin;
  GPIO_InitStruct.Mode = GPIO_MODE_IT_FALLING;
  GPIO_InitStruct.Pull = GPIO_NOPULL;
  HAL_GPIO_Init(MCU_I_O_1_GPIO_Port, &GPIO_InitStruct);

  /*Configure GPIO pins : MCU_GREEN_LED_Pin MCU_RED_LED_Pin */
  GPIO_InitStruct.Pin = MCU_GREEN_LED_Pin|MCU_RED_LED_Pin;
  GPIO_InitStruct.Mode = GPIO_MODE_OUTPUT_PP;
  GPIO_InitStruct.Pull = GPIO_NOPULL;
  GPIO_InitStruct.Speed = GPIO_SPEED_FREQ_LOW;
  HAL_GPIO_Init(GPIOB, &GPIO_InitStruct);

  /* EXTI interrupt init*/
  HAL_NVIC_SetPriority(EXTI0_IRQn, 0, 0);
  HAL_NVIC_EnableIRQ(EXTI0_IRQn);

  HAL_NVIC_SetPriority(EXTI4_IRQn, 0, 0);
  HAL_NVIC_EnableIRQ(EXTI4_IRQn);

  HAL_NVIC_SetPriority(EXTI5_IRQn, 0, 0);
  HAL_NVIC_EnableIRQ(EXTI5_IRQn);

  HAL_NVIC_SetPriority(EXTI10_IRQn, 0, 0);
  HAL_NVIC_EnableIRQ(EXTI10_IRQn);

  HAL_NVIC_SetPriority(EXTI13_IRQn, 0, 0);
  HAL_NVIC_EnableIRQ(EXTI13_IRQn);

}

/* USER CODE BEGIN 4 */
/**
  * @brief  Spectrometer Hardware Data Read Interrupt Callback
  */
void HAL_GPIO_EXTI_Falling_Callback(uint16_t GPIO_Pin) {
    if (GPIO_Pin == MCU_I_O_1_Pin) {
        HAL_NVIC_DisableIRQ(MCU_I_O_1_EXTI_IRQn);

        if (AS7341_IRQHandler(&h_as7341, &spectral_data)) {
            // Evaluates true only when Cycle 2 concludes cleanly
            spectral_data_buffer = spectral_data;
            spectral_data_ready = true;

            // FIX: Kick off the next asynchronous integration sweep immediately
            AS7341_StartRead(&h_as7341);
        }

        __HAL_GPIO_EXTI_CLEAR_IT(MCU_I_O_1_Pin);
        HAL_NVIC_EnableIRQ(MCU_I_O_1_EXTI_IRQn);
    }
}

/**
  * @brief  Core ingestion routine for 381.4ms chunks.
  * Reconstructs continuous streams and handles arbitrary sliding strides.
  */
void Ingest_Block_To_Sliding_Window(int16_t* raw_audio_source) {
    // 1. Direct memory save into active rolling storage slot
    memcpy(audio_window_history[write_ptr], raw_audio_source, BLOCK_AUDIO_SAMPLES * sizeof(int16_t));

    // Assign spectrometer channels (fallback to last if spectral_data_ready was false)
    spectro_window_history[write_ptr][0] = spectral_data_buffer.f1;
    spectro_window_history[write_ptr][1] = spectral_data_buffer.f2;
    spectro_window_history[write_ptr][2] = spectral_data_buffer.f3;
    spectro_window_history[write_ptr][3] = spectral_data_buffer.f4;
    spectro_window_history[write_ptr][4] = spectral_data_buffer.f5;
    spectro_window_history[write_ptr][5] = spectral_data_buffer.f6;
    spectro_window_history[write_ptr][6] = spectral_data_buffer.f7;
    spectro_window_history[write_ptr][7] = spectral_data_buffer.f8;
    spectro_window_history[write_ptr][8] = spectral_data_buffer.clear;
    spectro_window_history[write_ptr][9] = spectral_data_buffer.nir;

    // Aligned tracking using the background calculation engine result flag member
    flicker_window_history[write_ptr] = spectral_data_buffer.flicker;

    // Consume spectrometer flag until hardware updates it again
    spectral_data_ready = false;

    // Advance circular ring write pointer indices
    write_ptr = (write_ptr + 1) % WINDOW_PACKET_COUNT;
    if (blocks_accumulated < WINDOW_PACKET_COUNT) {
        blocks_accumulated++;
    }

    stride_counter++;

    // 2. Process window if buffer is fully primed and stride parameter is met
    if (blocks_accumulated == WINDOW_PACKET_COUNT && stride_counter >= INFERENCE_STRIDE_PACKETS) {
        stride_counter = 0; // Reset stride steps accumulator
        processing_write_ptr = write_ptr;
        data_processing_requested = 1;
    }
}

/**
  * @brief  MDF Circular Buffer Half Transfer Callback (PING ready)
  */
void HAL_MDF_AcqHalfCpltCallback(MDF_HandleTypeDef *hmdf) {
    if (hmdf->Instance == MDF1_Filter0) {
        // First 6102 samples of the circular array are ready
        Ingest_Block_To_Sliding_Window(&audio_circular_buffer[0]);
    }
}

/**
  * @brief  MDF Circular Buffer Full Transfer Complete Callback (PONG ready)
  */
void HAL_MDF_AcqCpltCallback(MDF_HandleTypeDef *hmdf) {
    if (hmdf->Instance == MDF1_Filter0) {
        // Second 6102 samples of the circular array are ready
        Ingest_Block_To_Sliding_Window(&audio_circular_buffer[BLOCK_AUDIO_SAMPLES]);
    }
}
/* USER CODE END 4 */

void Error_Handler(void)
{
  __disable_irq();
  while (1)
  {
  }
}
